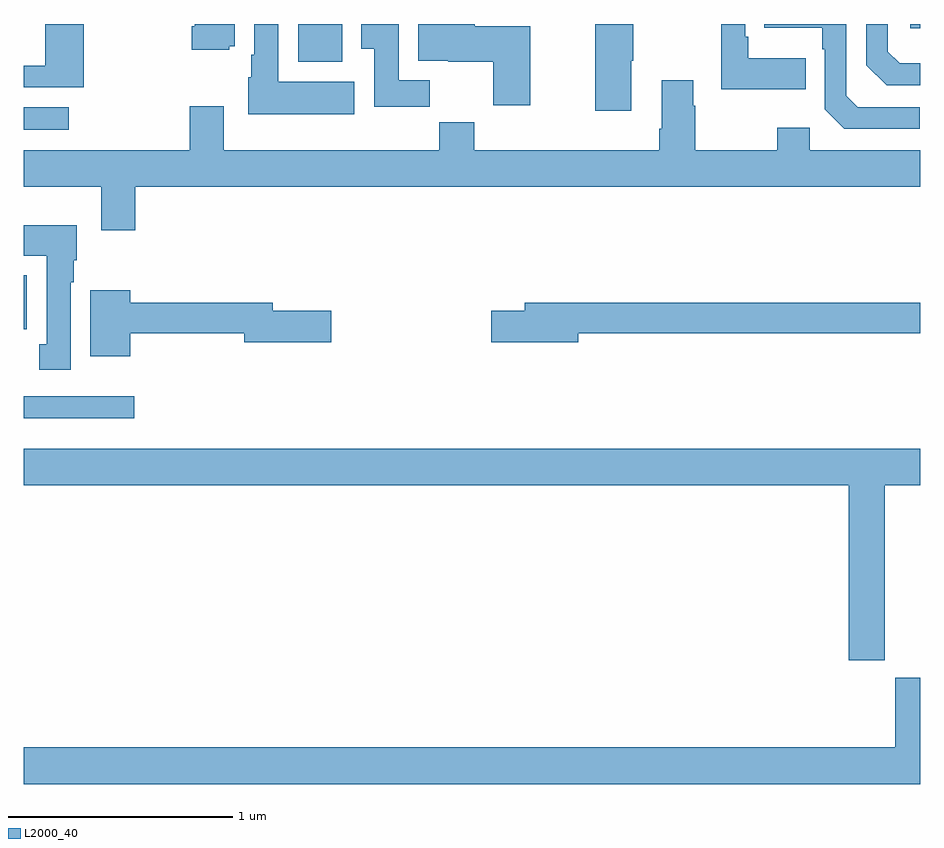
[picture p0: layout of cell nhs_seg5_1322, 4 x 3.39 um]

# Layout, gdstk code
import gdstk
lib = gdstk.Library(unit=1e-6, precision=1e-09)
def R(c, l, rs):  # rectangles x0, y0, x1, y1
    for r in rs: c.add(gdstk.rectangle(r[:2], r[2:], *l))
def P(c, l, *ps):  # polygons
    for p in ps: c.add(gdstk.Polygon(p, *l))
L2000_40 = (2000, 40)

nhs_seg5_1322 = lib.new_cell('nhs_seg5_1322')
R(nhs_seg5_1322, L2000_40, [(191,877.04,191.494,877.137), (191,877.436,191.014,877.678), (191,878.327,191.2,878.428), (192.224,878.63,192.421,878.799), (194.955,878.78,195,878.799)])
P(nhs_seg5_1322, L2000_40, [(192.475,878.542),(192.136,878.542),(192.136,878.799),(192.029,878.799),(192.029,878.662),(192.014,878.662),(192.014,878.562),(192.002,878.562),(192.002,878.396),(192.475,878.396)],
  [(193.26,878.788),(193.012,878.788),(193.012,878.799),(192.761,878.799),(192.761,878.636),(192.894,878.636),(192.894,878.63),(193.094,878.63),(193.094,878.436),(193.26,878.436)],
  [(194.489,878.647),(194.233,878.647),(194.233,878.743),(194.22,878.743),(194.22,878.799),(194.112,878.799),(194.112,878.507),(194.489,878.507)],
  [(192.812,878.548),(192.673,878.548),(192.673,878.799),(192.506,878.799),(192.506,878.689),(192.563,878.689),(192.563,878.43),(192.812,878.43)],
  [(191.916,878.7),(191.941,878.7),(191.941,878.799),(191.762,878.799),(191.762,878.788),(191.75,878.788),(191.75,878.684),(191.916,878.684)],
  [(191.267,878.799),(191.096,878.799),(191.096,878.613),(191,878.613),(191,878.517),(191.267,878.517)],
  [(194.998,878.427),(194.721,878.427),(194.67,878.478),(194.67,878.799),(194.305,878.799),(194.305,878.783),(194.562,878.783),(194.562,878.687),(194.574,878.687),(194.574,878.418),(194.661,878.331),(194.998,878.331)],
  [(193.711,878.635),(193.719,878.635),(193.719,878.799),(193.549,878.799),(193.549,878.412),(193.711,878.412)],
  [(195,878.623),(194.909,878.623),(194.856,878.676),(194.856,878.799),(194.76,878.799),(194.76,878.616),(194.85,878.526),(195,878.526)],
  [(191.498,878.072),(195,878.072),(195,878.236),(194.508,878.236),(194.508,878.335),(194.362,878.335),(194.362,878.236),(193.995,878.236),(193.995,878.435),(193.987,878.435),(193.987,878.548),(193.847,878.548),(193.847,878.332),(193.835,878.332),(193.835,878.236),(193.01,878.236),(193.01,878.36),(192.853,878.36),(192.853,878.236),(191.893,878.236),(191.893,878.431),(191.741,878.431),(191.741,878.236),(191,878.236),(191,878.072),(191.345,878.072),(191.345,877.878),(191.498,877.878)],
  [(191.209,877.646),(191.224,877.646),(191.224,877.746),(191.236,877.746),(191.236,877.9),(191,877.9),(191,877.766),(191.102,877.766),(191.102,877.37),(191.069,877.37),(191.069,877.257),(191.209,877.257)],
  [(191.476,877.42),(191.984,877.42),(191.984,877.378),(192.373,877.378),(192.373,877.52),(192.112,877.52),(192.112,877.556),(191.476,877.556),(191.476,877.612),(191.297,877.612),(191.297,877.316),(191.476,877.316)],
  [(193.474,877.42),(195,877.42),(195,877.556),(193.235,877.556),(193.235,877.52),(193.086,877.52),(193.086,877.378),(193.474,877.378)],
  [(194.841,876.74),(195,876.74),(195,876.904),(191,876.904),(191,876.74),(194.681,876.74),(194.681,875.961),(194.841,875.961)],
  [(195,875.881),(194.888,875.881),(194.888,875.572),(191,875.572),(191,875.408),(195,875.408)])

lib.write_gds('nhs_seg5_1322.gds')
